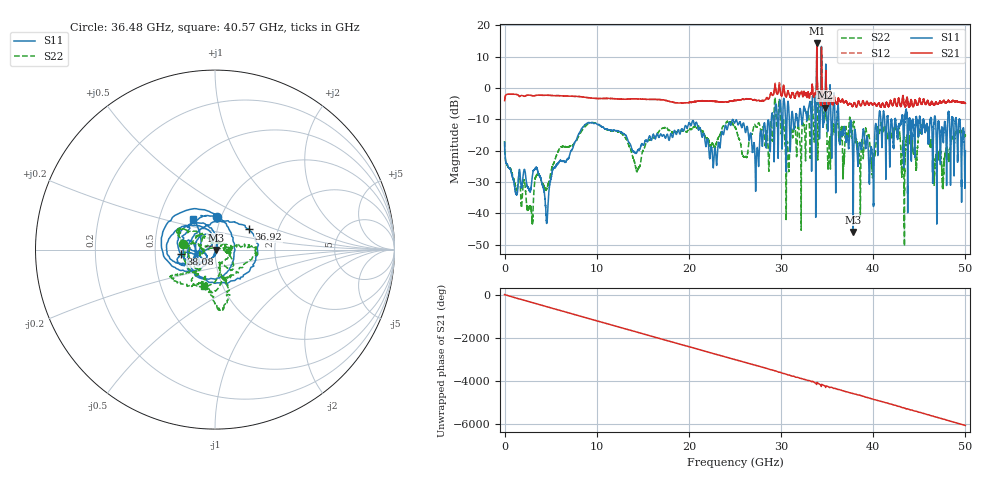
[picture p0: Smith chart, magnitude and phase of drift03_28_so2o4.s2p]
!Created with skrf (http://scikit-rf.org).
# Hz S RI R 50.0
!freq ReS11 ImS11 ReS21 ImS21 ReS12 ImS12 ReS22 ImS22
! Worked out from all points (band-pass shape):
!   10001 points, 300 kHz to 50 GHz, reference 50 ohm
!   highest |S21| = 14.17 dB at 33.88 GHz (marker M1); lowest = -6.3 dB at 34.79 GHz (marker M2)
!   |S21| within 3 dB of the highest: 33.86944 GHz to 33.88884 GHz (19.39 MHz wide, 0.0572 % of centre); 34.3764 GHz to 34.39018 GHz (13.78 MHz wide, 0.0401 % of centre)
!   lowest |S11| = -45.9 dB at 37.83 GHz (marker M3), VSWR 1.01, Z = 50.5 - j0.192 ohm
!   |S11| at or under -10 dB: start of sweep to 28.94 GHz; 36.26 GHz to 40.61 GHz (4.343 GHz wide, 11.3 % of centre); 46.75 GHz to 48.08 GHz (1.329 GHz wide, 2.8 % of centre) (the widest 3 of 61)
!   |S22| runs from -50.5 to 10.7 dB; largest |S21 - S12| = 0.83
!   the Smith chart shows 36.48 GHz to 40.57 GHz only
!   S11 on the Smith chart (normalised r, x): 36.48 GHz: 0.96, +0.36; 36.92 GHz: 1.42, +0.35; 38.08 GHz: 0.68, -0.04; 40.57 GHz: 0.74, +0.26
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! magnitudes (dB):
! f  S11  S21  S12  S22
! 300 kHz  -17.3  -4.0  -4.0  -17.0
! 2.825 GHz  -32.7  -2.4  -2.4  -38.3
! 4.565 GHz  -42.0  -2.3  -2.3  -32.2
! 8.335 GHz  -13.1  -2.8  -2.8  -13.9
! 14.43 GHz  -20.0  -3.5  -3.5  -26.3
! 16.67 GHz  -15.4  -3.7  -3.7  -14.3
! 22.82 GHz  -19.3  -4.3  -4.3  -19.0
! 25 GHz  -11.0  -4.0  -4.0  -12.5
! 27.39 GHz  -19.4  -4.1  -4.1  -12.4
! 29.6 GHz  -10.5  -2.0  -2.1  -11.8
! 30.7 GHz  -5.5  -1.4  -1.5  -17.3
! 33.34 GHz  -13.6  -0.5  -0.6  -7.2
! 33.88 GHz  15.1  14.2  13.8  10.6
! 34.79 GHz  -3.1  -6.3  -5.0  -8.7
! 36.48 GHz  -14.7  -4.4  -4.4  -14.9
! 36.92 GHz  -13.1  -4.4  -4.4  -18.0
! 37.83 GHz  -45.9  -5.5  -5.5  -11.1
! 38.08 GHz  -14.3  -5.5  -5.5  -17.2
! 40.57 GHz  -13.6  -4.9  -5.0  -13.4
! 41.67 GHz  -12.3  -6.0  -5.9  -15.1
! 47.58 GHz  -16.6  -4.3  -4.3  -29.3
! 50 GHz  -20.0  -4.9  -4.9  -15.1
